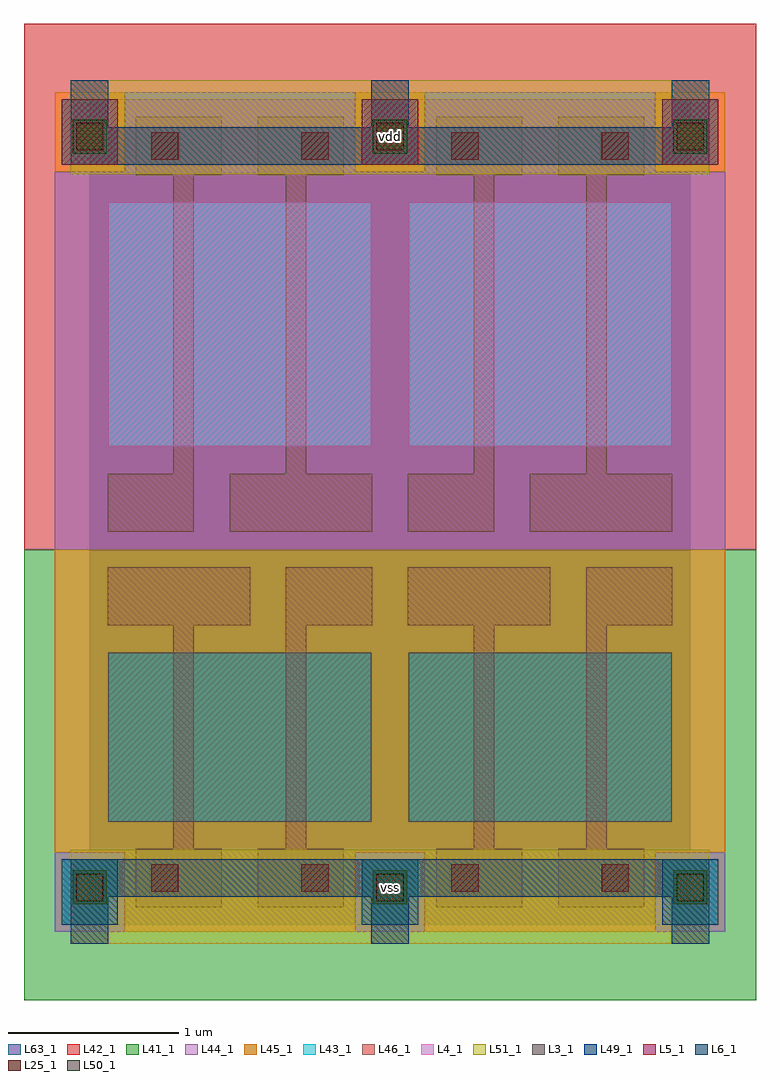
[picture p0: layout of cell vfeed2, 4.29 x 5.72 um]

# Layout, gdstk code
import gdstk
lib = gdstk.Library(unit=1e-6, precision=1e-09)
def R(c, l, rs):  # rectangles x0, y0, x1, y1
    for r in rs: c.add(gdstk.rectangle(r[:2], r[2:], *l))
def A(c, l, x, y, w, h, nx, ny, dx, dy):  # array of equal rectangles
    R(c, l, [(x+i*dx, y+j*dy, x+i*dx+w, y+j*dy+h) for i in range(nx) for j in range(ny)])
L3_1 = (3, 1)
L4_1 = (4, 1)
L5_1 = (5, 1)
L6_1 = (6, 1)
L25_1 = (25, 1)
L41_1 = (41, 1)
L42_1 = (42, 1)
L43_1 = (43, 1)
L44_1 = (44, 1)
L45_1 = (45, 1)
L46_1 = (46, 1)
L49_1 = (49, 1)
L50_1 = (50, 1)
L51_1 = (51, 1)
L63_1 = (63, 1)

vfeed2 = lib.new_cell('vfeed2')
R(vfeed2, L3_1, [(0.11,0.605,1.65,1.595), (1.87,0.605,3.41,1.595)])
R(vfeed2, L4_1, [(0.11,2.805,1.65,4.235), (1.87,2.805,3.41,4.235)])
A(vfeed2, L5_1, -0.165, 4.455, 0.33, 0.385, 3, 1, 1.76, 0)
A(vfeed2, L6_1, -0.165, 0, 0.33, 0.385, 3, 1, 1.76, 0)
A(vfeed2, L25_1, -0.08, 0.14, 0.16, 0.16, 3, 2, 1.76, 4.4)
A(vfeed2, L25_1, 0.36, 0.195, 0.16, 0.16, 4, 2, 0.88, 4.29)
R(vfeed2, L41_1, [(-0.385,-0.44,3.905,2.2)])
R(vfeed2, L42_1, [(-0.385,2.2,3.905,5.28)])
A(vfeed2, L43_1, -0.165, 0, 0.33, 0.385, 3, 2, 1.76, 4.455)
R(vfeed2, L43_1, [(0.11,0.605,1.65,1.595), (1.87,0.605,3.41,1.595), (0.11,2.805,1.65,4.235), (1.87,2.805,3.41,4.235)])
A(vfeed2, L44_1, -0.205, -0.04, 0.41, 0.465, 3, 1, 1.76, 0)
R(vfeed2, L44_1, [(-0.205,2.2,3.725,4.415), (0.205,4.415,1.555,4.88), (1.965,4.415,3.315,4.88)])
A(vfeed2, L45_1, -0.205, 4.415, 0.41, 0.465, 3, 1, 1.76, 0)
R(vfeed2, L45_1, [(0.205,-0.04,1.555,0.425), (1.965,-0.04,3.315,0.425), (-0.205,0.425,3.725,2.2)])
R(vfeed2, L46_1, [(0.27,0.105,0.775,0.445), (0.985,0.105,1.49,0.445), (2.03,0.105,2.535,0.445), (2.745,0.105,3.25,0.445), (0.49,0.445,0.61,1.755), (1.15,0.445,1.27,1.755), (2.25,0.445,2.37,1.755), (2.91,0.445,3.03,1.755), (0.105,1.755,0.94,2.095), (1.15,1.755,1.655,2.095), (1.865,1.755,2.7,2.095), (2.91,1.755,3.415,2.095), (0.105,2.305,0.61,2.645), (0.82,2.305,1.655,2.645), (1.865,2.305,2.37,2.645), (2.58,2.305,3.415,2.645), (0.49,2.645,0.61,4.395), (1.15,2.645,1.27,4.395), (2.25,2.645,2.37,4.395), (2.91,2.645,3.03,4.395), (0.27,4.395,0.775,4.735), (0.985,4.395,1.49,4.735), (2.03,4.395,2.535,4.735), (2.745,4.395,3.25,4.735)])
A(vfeed2, L49_1, -0.11, -0.11, 0.22, 0.275, 3, 2, 1.76, 4.785)
R(vfeed2, L49_1, [(-0.11,0.165,3.63,0.385), (-0.11,4.455,3.63,4.675)])
A(vfeed2, L50_1, -0.1, 0.12, 0.2, 0.2, 3, 2, 1.76, 4.4)
R(vfeed2, L51_1, [(-0.11,-0.11,3.63,0.44), (-0.11,4.4,3.63,4.95)])
R(vfeed2, L63_1, [(0,0,3.52,4.84)])
vfeed2.add(gdstk.Label('vss', (1.76,0.22), layer=51, texttype=1))
vfeed2.add(gdstk.Label('vdd', (1.76,4.62), layer=51, texttype=1))

lib.write_gds('vfeed2.gds')
